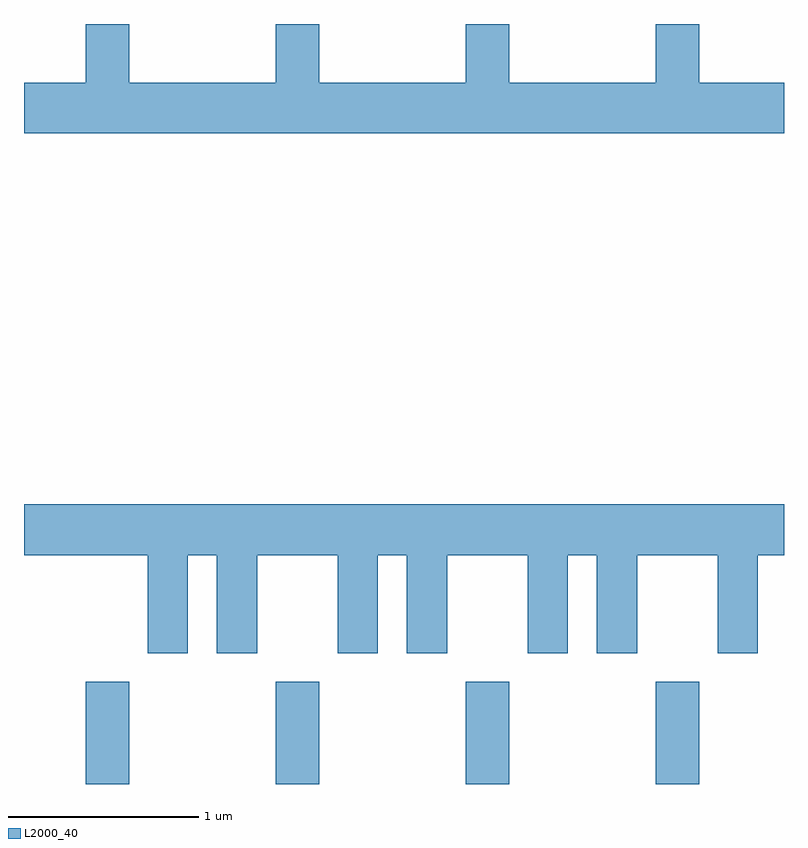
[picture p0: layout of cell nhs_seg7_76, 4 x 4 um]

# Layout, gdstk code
import gdstk
lib = gdstk.Library(unit=1e-6, precision=1e-09)
def R(c, l, rs):  # rectangles x0, y0, x1, y1
    for r in rs: c.add(gdstk.rectangle(r[:2], r[2:], *l))
def A(c, l, x, y, w, h, nx, ny, dx, dy):  # array of equal rectangles
    R(c, l, [(x+i*dx, y+j*dy, x+i*dx+w, y+j*dy+h) for i in range(nx) for j in range(ny)])
def P(c, l, *ps):  # polygons
    for p in ps: c.add(gdstk.Polygon(p, *l))
L2000_40 = (2000, 40)

nhs_seg7_76 = lib.new_cell('nhs_seg7_76')
A(nhs_seg7_76, L2000_40, 187.936, 1684.252, 0.228, 0.537, 4, 1, 1, 0)
P(nhs_seg7_76, L2000_40, [(191.611,1687.944),(191.164,1687.944),(191.164,1688.252),(190.936,1688.252),(190.936,1687.944),(190.164,1687.944),(190.164,1688.252),(189.936,1688.252),(189.936,1687.944),(189.164,1687.944),(189.164,1688.252),(188.936,1688.252),(188.936,1687.944),(188.164,1687.944),(188.164,1688.252),(187.936,1688.252),(187.936,1687.944),(187.611,1687.944),(187.611,1687.676),(191.611,1687.676)],
  [(188.474,1685.456),(188.626,1685.456),(188.626,1684.941),(188.839,1684.941),(188.839,1685.456),(189.261,1685.456),(189.261,1684.941),(189.474,1684.941),(189.474,1685.456),(189.626,1685.456),(189.626,1684.941),(189.839,1684.941),(189.839,1685.456),(190.261,1685.456),(190.261,1684.941),(190.474,1684.941),(190.474,1685.456),(190.626,1685.456),(190.626,1684.941),(190.839,1684.941),(190.839,1685.456),(191.261,1685.456),(191.261,1684.941),(191.474,1684.941),(191.474,1685.456),(191.611,1685.456),(191.611,1685.724),(187.611,1685.724),(187.611,1685.456),(188.261,1685.456),(188.261,1684.941),(188.474,1684.941)])

lib.write_gds('nhs_seg7_76.gds')
